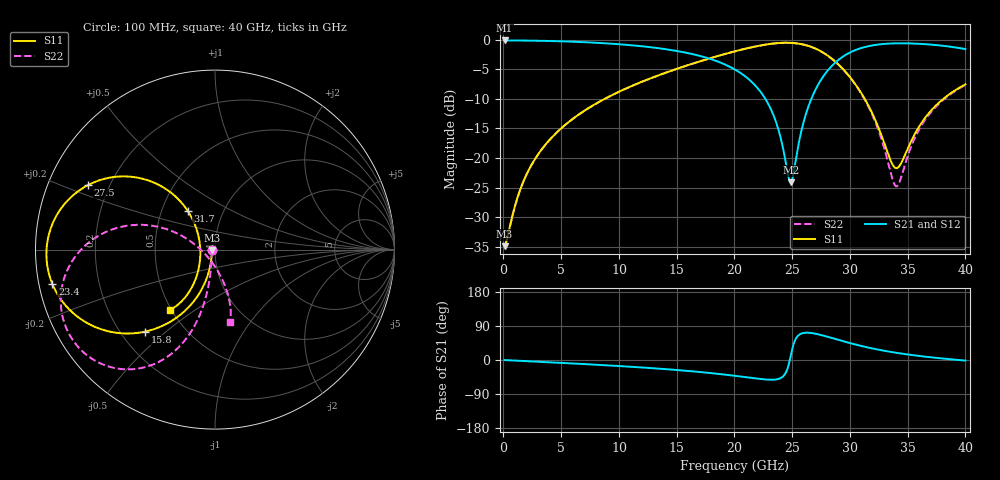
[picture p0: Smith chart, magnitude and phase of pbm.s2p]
! B_ts6_L1L3_stub: physics-based via model (prototype), ports at the via
# Hz S RI R 50
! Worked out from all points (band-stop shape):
!   400 points, 100 MHz to 40 GHz, reference 50 ohm
!   highest |S21| = -0.15 dB at 100 MHz (marker M1); lowest = -24.1 dB at 24.9 GHz (marker M2)
!   |S21| within 3 dB of the highest: start of sweep to 17.72 GHz; 29.19 GHz to end of sweep
!   lowest |S11| = -34.9 dB at 100 MHz (marker M3), VSWR 1.04, Z = 48.3 - j0.333 ohm
!   |S11| at or under -10 dB: start of sweep to 8.781 GHz; 31.28 GHz to 38.1 GHz (6.825 GHz wide, 19.7 % of centre)
!   |S22| runs from -34.9 to -0.5 dB; largest |S21 - S12| = 0
!   S11 on the Smith chart (normalised r, x): 100 MHz: 0.97, -0.01; 15.8 GHz: 0.30, -0.43; 23.4 GHz: 0.04, -0.10; 27.5 GHz: 0.12, +0.24; 31.7 GHz: 0.68, +0.32; 40 GHz: 0.49, -0.40
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1e8  -0.0177 -0.00345  0.9823 -0.00255  0.9823 -0.00255  -0.0177 -0.00348
1.3e9  -0.0199 -0.0448  0.9807 -0.0331  0.9807 -0.0331  -0.0186 -0.0453
2.5e9  -0.0258 -0.0861  0.9763 -0.0637  0.9763 -0.0637  -0.0211 -0.0872
4.3e9  -0.0418 -0.1472  0.9643 -0.1094  0.9643 -0.1094  -0.0279 -0.1502
6.8e9  -0.079 -0.2298  0.9362 -0.1722  0.9362 -0.1722  -0.0444 -0.2385
1.34e10  -0.2739 -0.4156  0.7804 -0.3258  0.7804 -0.3258  -0.1454 -0.4753
1.58e10  -0.3893 -0.4569  0.6814 -0.368  0.6814 -0.368  -0.2175 -0.5587
2.01e10  -0.6733 -0.4287  0.4125 -0.3704  0.4125 -0.3704  -0.4409 -0.6646
2.21e10  -0.8256 -0.319  0.2458 -0.2887  0.2458 -0.2887  -0.6012 -0.6486
2.34e10  -0.9062 -0.1912  0.1401 -0.1792  0.1401 -0.1792  -0.7165 -0.5859
2.49e10  -0.9377 0.0133  0.0603 0.0154  0.0603 0.0154  -0.8276 -0.4396
2.59e10  -0.8957 0.1654  0.0612 0.176  0.0612 0.176  -0.8594 -0.2997
2.67e10  -0.8188 0.2757  0.105 0.3052  0.105 0.3052  -0.8451 -0.1757
2.75e10  -0.7089 0.3585  0.1865 0.4175  0.1865 0.4175  -0.7912 -0.0573
2.94e10  -0.4024 0.3945  0.4645 0.5479  0.4645 0.5479  -0.5485 0.1201
3.17e10  -0.1526 0.2169  0.7484 0.4686  0.7484 0.4686  -0.2385 0.1024
3.34e10  -0.0876 0.0526  0.857 0.347  0.857 0.347  -0.0843 0.00424
3.38e10  -0.0831 0.0166  0.872 0.3177  0.872 0.3177  -0.0575 -0.0223
3.41e10  -0.0817 -0.00946  0.8811 0.2961  0.8811 0.2961  -0.0394 -0.0425
3.54e10  -0.0922 -0.1114  0.9026 0.2076  0.9026 0.2076  0.0218 -0.13
3.64e10  -0.1137 -0.1778  0.9036 0.1466  0.9036 0.1466  0.0532 -0.1951
4e10  -0.2501 -0.3351  0.8294 -0.0212  0.8294 -0.0212  0.0837 -0.4055
